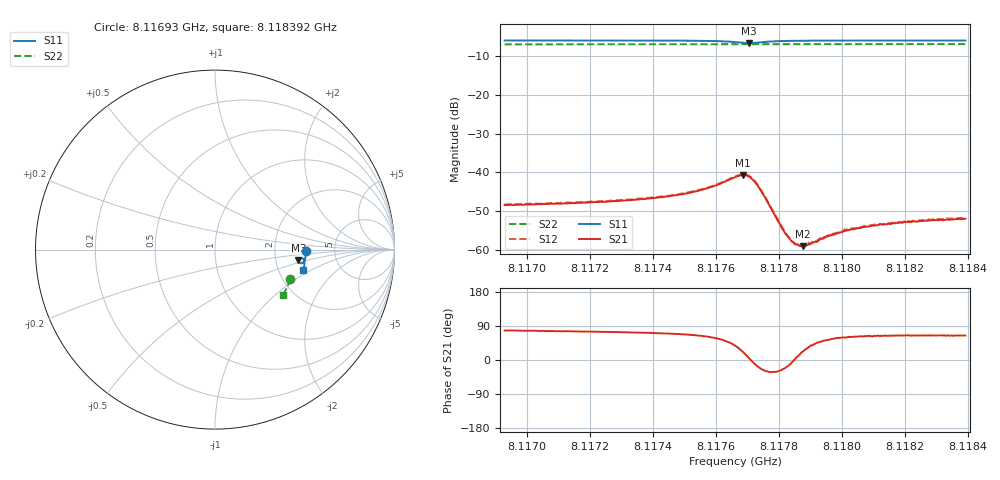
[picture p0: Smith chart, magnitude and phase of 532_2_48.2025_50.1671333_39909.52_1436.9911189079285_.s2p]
#  HZ  S  RI  R  50.00
! Rohde & Schwarz Vector Network Analyzer
! Rohde-Schwarz,ZNB20-2Port,1311601062101988,3.16
! Created: UTC 3/20/2024, 11:59:55 AM
! freq[Hz]  re:S11  im:S11  re:S21  im:S21  re:S12  im:S12  re:S22  im:S22
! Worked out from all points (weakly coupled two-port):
!   401 points, 8.11693 GHz to 8.118392 GHz, reference 50 ohm
!   highest |S21| = -40.68 dB at 8.117687 GHz (marker M1); lowest = -59.0 dB at 8.117877 GHz (marker M2)
!   lowest |S11| = -6.6 dB at 8.117705 GHz (marker M3), VSWR 2.76, Z = 134 - j20.8 ohm
!   |S11| at or under -10 dB: nowhere
!   |S22| runs from -6.9 to -6.8 dB; largest |S21 - S12| = 0.00025
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8.1169299e9  0.5066 -0.0103  0.000806 0.00369  0.000844 0.00374  0.4204 -0.1638
8.1171748e9  0.5053 -0.0298  0.00103 0.0039  0.00108 0.004  0.4146 -0.1799
8.1173283e9  0.5037 -0.0425  0.00133 0.00419  0.00135 0.00424  0.4105 -0.19
8.1174197e9  0.5023 -0.0508  0.0016 0.00447  0.00163 0.00457  0.408 -0.1957
8.117544e9  0.498 -0.064  0.0025 0.0052  0.00259 0.0053  0.4042 -0.2039
8.1175951e9  0.4933 -0.0706  0.00348 0.00571  0.0036 0.00583  0.4024 -0.2072
8.1176609e9  0.4774 -0.0763  0.00682 0.00534  0.00698 0.00541  0.4001 -0.2111
8.1176865e9  0.4674 -0.0701  0.00863 0.00331  0.00882 0.00335  0.3989 -0.2123
8.1177048e9  0.4646 -0.0603  0.00878 0.000855  0.00902 0.000801  0.3983 -0.2129
8.1177194e9  0.4676 -0.0524  0.00782 -0.000977  0.00802 -0.00104  0.398 -0.2135
8.1177377e9  0.4754 -0.0469  0.00591 -0.00214  0.00606 -0.00225  0.398 -0.2144
8.1178145e9  0.4954 -0.056  0.00165 -0.000708  0.00168 -0.000766  0.3965 -0.2198
8.1178254e9  0.4963 -0.0578  0.00148 -0.000466  0.00149 -0.000448  0.3961 -0.2204
8.1178474e9  0.4975 -0.0614  0.00123 -1.06e-05  0.00124 -5.14e-05  0.3955 -0.2219
8.117862e9  0.4981 -0.0633  0.00115 0.000223  0.00118 0.000231  0.3949 -0.2228
8.1178766e9  0.4983 -0.0654  0.00103 0.000421  0.00105 0.000442  0.3945 -0.2237
8.1179058e9  0.4987 -0.069  0.000971 0.000782  0.000949 0.000817  0.3935 -0.2257
8.117957e9  0.4987 -0.0747  0.0009 0.00121  0.000893 0.00125  0.3919 -0.2289
8.1180155e9  0.4983 -0.0805  0.000892 0.00154  0.000923 0.00158  0.3899 -0.2327
8.1181508e9  0.4967 -0.0923  0.000927 0.00195  0.00101 0.00196  0.3854 -0.241
8.1182531e9  0.4953 -0.1007  0.00101 0.00213  0.00103 0.00217  0.3818 -0.2473
8.118392e9  0.4929 -0.1113  0.00108 0.00228  0.00111 0.00229  0.3767 -0.2555
